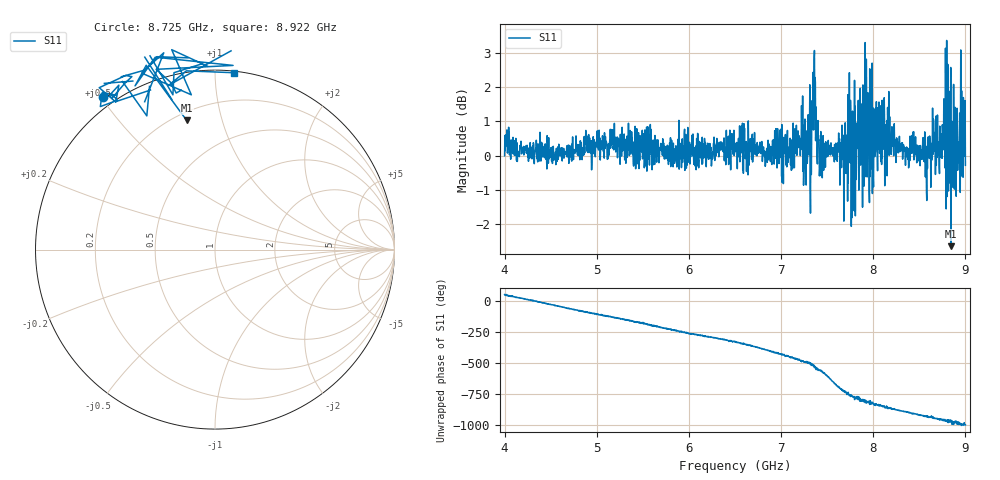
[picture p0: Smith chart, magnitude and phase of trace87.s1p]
! Created with skrf 1.8.0 (http://scikit-rf.org).
# Hz S RI R 50.0
!freq ReS11 ImS11
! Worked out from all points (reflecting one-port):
!   1601 points, 4 GHz to 9 GHz, reference 50 ohm
!   lowest |S11| = -2.6 dB at 8.844 GHz (marker M1), VSWR 6.63, Z = 12.2 + j38.7 ohm
!   phase of S11 starts at 53 deg and turns -1053 deg over the sweep
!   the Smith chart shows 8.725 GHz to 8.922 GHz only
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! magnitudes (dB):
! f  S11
! 4 GHz  0.0
! 4.625 GHz  -0.2
! 5.25 GHz  -0.1
! 5.875 GHz  0.0
! 6.5 GHz  0.2
! 7.125 GHz  -0.4
! 7.209 GHz  0.0
! 7.262 GHz  0.6
! 7.306 GHz  1.0
! 7.359 GHz  2.8
! 7.4 GHz  1.0
! 7.438 GHz  -0.6
! 7.75 GHz  -0.2
! 7.788 GHz  -0.3
! 7.844 GHz  -1.0
! 7.875 GHz  0.4
! 7.928 GHz  1.7
! 7.981 GHz  -0.4
! 8.097 GHz  -0.1
! 8.375 GHz  -0.1
! 8.588 GHz  -0.4
! 8.725 GHz  0.5
! 8.788 GHz  -0.2
! 8.822 GHz  0.8
! 8.844 GHz  -2.6
! 8.922 GHz  -0.1
! 8.972 GHz  0.4
! 9 GHz  -0.3
